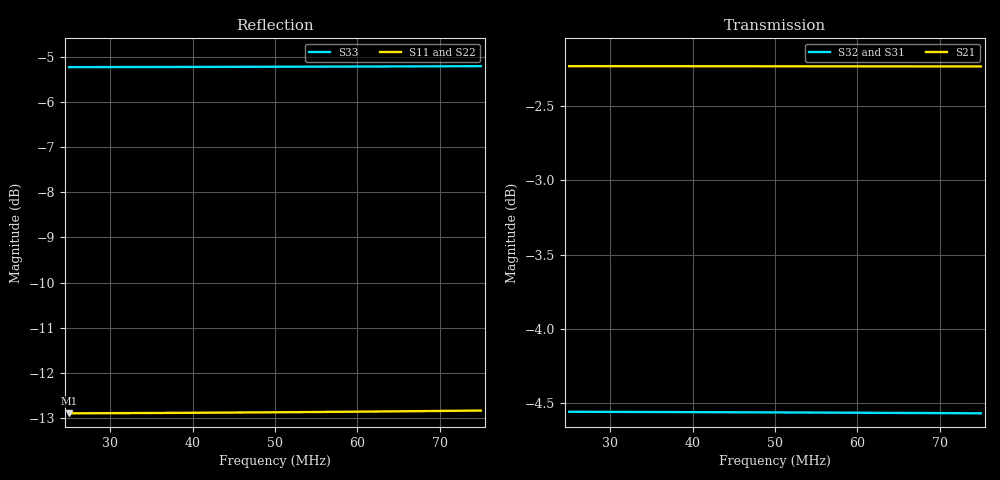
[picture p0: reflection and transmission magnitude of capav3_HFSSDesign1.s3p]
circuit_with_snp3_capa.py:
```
"""
Adaptation de rfCicuit_sNp_example.py pour le double-stub tuner ICRH TEXTOR.
"""

import os
os.environ['OPENBLAS_NUM_THREADS'] = '{:d}'.format(2)

import re
import numpy as np
import matplotlib.pyplot as pl

from pyRFtk import rfCircuit, rfObject, rfTRL, rfRLC, plotVSWs


# ===========================================================================
# Utilitaires
# ===========================================================================

def readvar(s):
    try:
        val, unit = re.findall(r'([+-]?[0-9]+\.?[0-9]*)([A-Za-z]+)', s)[0]
    except (IndexError, ValueError):
        raise ValueError(f'Impossible de lire {s!r}')
    val = float(val)
    if unit == 'mm':   return val / 1000.0
    elif unit in ('m', 'ohm'): return val
    else: raise ValueError(f'Unite inconnue : {unit}')


def plotS11(circuit, fHzs, title='S11', flags=None):
    flags = flags or {}
    SS = circuit.getS(fHzs, flags=flags)
    pl.figure(title)
    pl.plot(fHzs / 1e6, SS[:, 0, 0].real, 'r',  label='Re S$_{11}$')
    pl.plot(fHzs / 1e6, SS[:, 0, 0].imag, 'b--', label='Im S$_{11}$')
    pl.xlabel('f [MHz]')
    pl.ylim(-1, 1)
    pl.legend()
    pl.grid(alpha=0.3)
    pl.suptitle(title)
    pl.tight_layout()


# ===========================================================================
# Parametres physiques
# ===========================================================================

PATH_S3P = 'capav3_HFSSDesign1.s3p'

# Longueur du stub court-circuite 
ls_mec = 0.460        # [m]  

# Longueur de la ligne de transmission entre les deux capas
lt = 0.915             # [m]  

# Valeurs initiales des condensateurs COMET (en Farads)
C1 = 150e-12          # [F]
C2 = 150e-12          # [F]

# Frequence cible
f_cible = 32.5e6      # [Hz]


# ===========================================================================
# 1. Charger le s3p et extraire les dimensions
# ===========================================================================

obj = rfObject(touchstone=PATH_S3P) #attention ici les resultats ne vont pas etre bons car c'est le snp qui n'était pas adapté à 50 ohms

Hperp_v   = readvar(obj.variables['Hperp_v'])
H2_v      = readvar(obj.variables['H2_v'])
Rperp_c   = readvar(obj.variables['Rperp_c'])
Rperp_v   = readvar(obj.variables['Rperp_v'])
Rlittle_c = readvar(obj.variables['Rlittle_c'])
Rint_v    = readvar(obj.variables['Rint_v'])

Z0_tige  = (377/2*np.pi) * np.log(Rperp_v   / Rperp_c) 
Z0_port3 = (377/2*np.pi) * np.log(Rint_v    / Rlittle_c)

print(f"Z0_tige  = {Z0_tige:.2f} ohm")
print(f"Z0_port3 = {Z0_port3:.2f} ohm")


# ===========================================================================
# 2. Construire ct_capa : jonction 3 ports avec mode sNp
#
#    sNp=True  --> utilise le fichier HFSS comme reference
#    sNp=False --> utilise uniquement les blocs analytiques rfTRL
# ===========================================================================

ct_capa = rfCircuit(Zbase=Z0_tige)


ct_capa.addblock('tigeA',     rfTRL(L=Hperp_v / 2, Z0TL=Z0_tige))
ct_capa.addblock('tigeB',     rfTRL(L=Hperp_v / 2, Z0TL=Z0_tige))
ct_capa.addblock('electrode', rfTRL(L=H2_v,         Z0TL=Z0_port3))

ct_capa.connect('tigeA.2', 'tigeB.1', 'electrode.1')
ct_capa.connect('tigeA.1',     '1')
ct_capa.connect('tigeB.2',     '2')
ct_capa.connect('electrode.2', '3')

print('\nJonction ct_capa :')
print(ct_capa.asstr(-1))


# ===========================================================================
# 3. Comparer sNp vs analytique sur la jonction seule
# ===========================================================================

# Comparaison manuelle : obj (HFSS) vs ct_capa (analytique)
fHzs = np.linspace(25e6, 75e6, 51)

SS_ana  = ct_capa.getS(fHzs)          # analytique
SS_hfss = obj.getS(fHzs)              # HFSS (obj lit déjà le .s3p)

fig, axs = pl.subplots(3, 3, sharex=True, num='Jonction : HFSS vs analytique')
for i in range(3):
    for j in range(3):
        pl.sca(axs[i, j])
        pl.plot(fHzs/1e6, np.abs(SS_ana[:,i,j]),  'r',   label='analytique')
        pl.plot(fHzs/1e6, np.abs(SS_hfss[:,i,j]), 'b--', label='HFSS')
        pl.title(f'|S$_{{{i+1},{j+1}}}$|', fontsize=9)
        pl.grid(alpha=0.3)
        if i == 2: pl.xlabel('f [MHz]')
axs[0,0].legend(fontsize=7)
pl.suptitle('Jonction 3 ports : HFSS vs analytique')
pl.tight_layout()


# ===========================================================================
# 4. Circuit complet : double-stub tuner
# ===========================================================================

ct_full = rfCircuit(Zbase=Z0_tige)

# --- Premiere branche ---
ct_full.addblock('Capa1',  ct_capa)
ct_full.addblock('COMET1', rfRLC(Cs=C1))           # condensateur COMET en serie
ct_full.addblock('Stub1',  rfTRL(L=ls_mec, Z0TL=Z0_tige))

ct_full.connect('Capa1.3',  'COMET1.s')
ct_full.connect('COMET1.p', 'Stub1.1')
ct_full.terminate('Stub1.2', Z=0)                  # court-circuit

# --- Ligne de transmission entre les deux capas ---
ct_full.addblock('LT', rfTRL(L=lt, Z0TL=Z0_tige))

# --- Deuxieme branche ---
ct_full.addblock('Capa2',  ct_capa)
ct_full.addblock('COMET2', rfRLC(Cs=C2))
ct_full.addblock('Stub2',  rfTRL(L=ls_mec, Z0TL=Z0_tige))

ct_full.connect('Capa2.3',  'COMET2.s')
ct_full.connect('COMET2.p', 'Stub2.1')
ct_full.terminate('Stub2.2', Z=0)

# --- Connexions de la ligne principale ---
ct_full.connect('Capa1.2', 'LT.1')
ct_full.connect('LT.2',    'Capa2.1')
ct_full.connect('Capa1.1', '1')
ct_full.connect('Capa2.2', '2')

print('\nCircuit double-stub complet :')
print(ct_full.asstr(-1))


# ===========================================================================
# 5. S11 du circuit complet : sNp vs analytique
# ===========================================================================


plotS11(ct_full, fHzs, title='Double-stub : analytique')

# ===========================================================================
# 6. Effet de la variation de C1 (sNp=True)
# ===========================================================================

pl.figure('S11 vs C1 (sNp)')
for C_val in [50e-12, 100e-12, 150e-12, 200e-12, 300e-12]:
    ct_full.set('COMET1.Cs', C_val)
    SS = ct_full.getS(fHzs)
    pl.plot(fHzs/1e6, np.abs(SS[:, 0, 0]),
            label=f'C1={C_val*1e12:.0f} pF')

ct_full.set('COMET1.Cs', C1)   # remettre la valeur initiale
pl.xlabel('f [MHz]')
pl.ylabel('|S$_{11}$|')
pl.ylim(0, 1)
pl.legend(fontsize=8)
pl.grid(alpha=0.3)
pl.suptitle(f'Effet de C1 (C2={C2*1e12:.0f} pF, ls={ls_mec*1e3:.0f} mm)')
pl.tight_layout()


# ===========================================================================
# 7. Distribution de tension sur la ligne a f_cible
# ===========================================================================

Vmax, where, VSWs = ct_full.maxV(
    f_cible,
    E={'1': 1, '2': 0}   # port 2 = charge adaptee (antenne matchee)
)

print(f'\nTension max = {Vmax:.3f} V en {where}')

pl.figure('Distribution de tension')
plotVSWs(VSWs)
pl.suptitle(f'VSW a {f_cible/1e6:.1f} MHz (C1={C1*1e12:.0f} pF, C2={C2*1e12:.0f} pF)')
pl.tight_layout()

pl.show()
```
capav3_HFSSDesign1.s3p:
! Touchstone file exported from HFSS 2025.2.0
!  File:  C:/Users/32474/OneDrive - UCL/Documents/Ingenieur/MASTER1/Stage/HFSS/capav3.aedt
!  Generated:  03:03:22 PM Jun 23, 2026
!  Design:  HFSSDesign1
!  Project:  capav3
!  Setup:  Setup1
!  Solution:  Sweep
! Variables:
!  $H1_v = 400mm
!  $H2_v = 300mm
!  $Rext_v = 150mm
!  $Rint_v = 100mm
!  $Rperp_v = 75mm
!  $z_perp_v = 120mm
!  H1_v = 40mm
!  H2_v = 30mm
!  H_diel = 5mm
!  Hbig_c = 25mm
!  Hperp_v = 60mm
!  Hperp_vdiv2 = 60
!  Rbig_c = 12mm
!  Rext_v = 15mm
!  Rint_v = 8mm
!  Rlittle_c = 4mm
!  Rperp_c = 4mm
!  Rperp_v = 6mm
!  z_diel = 5mm
!  zperp = 30
!  zperp_v = 21mm
!Data is not renormalized
# GHz S MA
! Terminal data exported
! Port[1] = 1
! Port[2] = 2
! Port[3] = 3
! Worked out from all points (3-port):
!   51 points, 25 MHz to 75 MHz, reference per port
!   strongest paths, dB at 25 MHz, 37 MHz, 50 MHz, 63 MHz, 75 MHz:
!     S21: -2.2, -2.2, -2.2, -2.2, -2.2
!     S32: -4.6, -4.6, -4.6, -4.6, -4.6
!     S31: -4.6, -4.6, -4.6, -4.6, -4.6
!   lowest |S11| = -12.9 dB at 25 MHz (marker M1), VSWR 1.59
!   |S11| at or under -10 dB: start of sweep to end of sweep
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0.025  0.2266 -180.0  0.7736 -2.6  0.5915 -2.1
       0.7736 -2.6  0.2265 -180.0  0.5916 -2.1
       0.5915 -2.1  0.5916 -2.1  0.5477 179.5
0.037  0.2268 -179.9  0.7736 -3.8  0.5914 -3.1
       0.7736 -3.8  0.2267 -179.9  0.5915 -3.1
       0.5914 -3.1  0.5915 -3.1  0.5479 179.2
0.05  0.2272 -179.9  0.7735 -5.2  0.5912 -4.2
      0.7735 -5.2  0.2271 -179.9  0.5913 -4.2
      0.5912 -4.2  0.5913 -4.2  0.5482 179.0
0.062  0.2276 -179.9  0.7735 -6.4  0.5911 -5.2
       0.7735 -6.4  0.2275 -179.9  0.5911 -5.2
       0.5911 -5.2  0.5911 -5.2  0.5486 178.7
0.075  0.2282 -179.9  0.7734 -7.7  0.5908 -6.3
       0.7734 -7.7  0.2281 -179.9  0.5909 -6.3
       0.5908 -6.3  0.5909 -6.3  0.549 178.4
